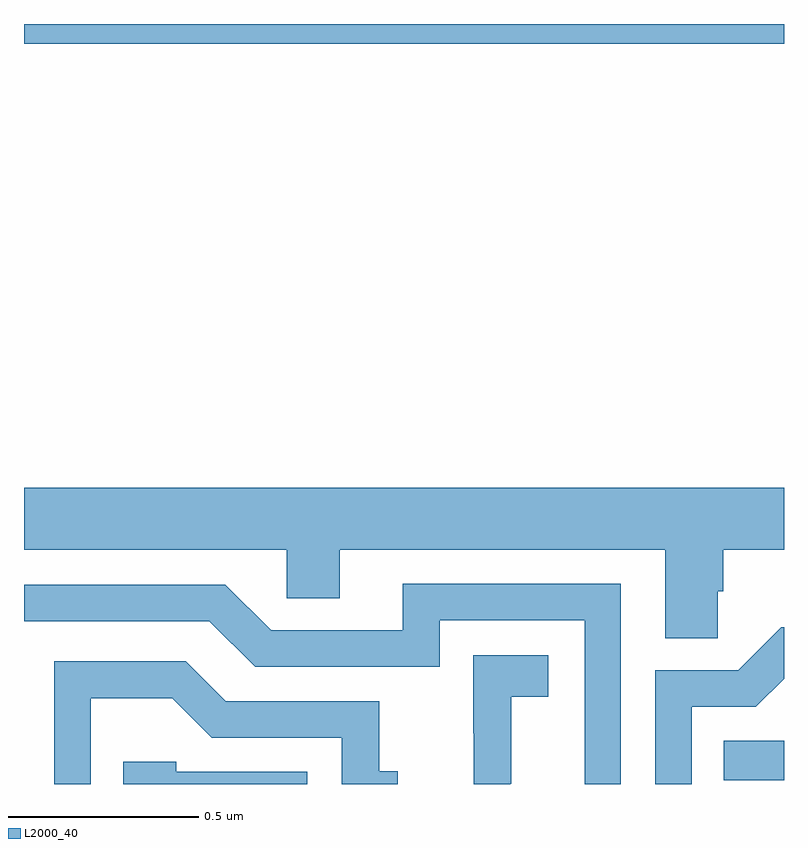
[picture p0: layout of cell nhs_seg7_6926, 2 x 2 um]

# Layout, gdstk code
import gdstk
lib = gdstk.Library(unit=1e-6, precision=1e-09)
def R(c, l, rs):  # rectangles x0, y0, x1, y1
    for r in rs: c.add(gdstk.rectangle(r[:2], r[2:], *l))
def P(c, l, *ps):  # polygons
    for p in ps: c.add(gdstk.Polygon(p, *l))
L2000_40 = (2000, 40)

nhs_seg7_6926 = lib.new_cell('nhs_seg7_6926')
R(nhs_seg7_6926, L2000_40, [(206.842,1000.01,207,1000.114), (205,1001.948,207,1002)])
P(nhs_seg7_6926, L2000_40, [(206.826,1000.507),(206.84,1000.507),(206.84,1000.616),(207,1000.616),(207,1000.78),(205,1000.78),(205,1000.616),(205.692,1000.616),(205.692,1000.489),(205.831,1000.489),(205.831,1000.616),(206.687,1000.616),(206.687,1000.384),(206.826,1000.384)],
  [(206.571,1000.527),(205.997,1000.527),(205.997,1000.404),(205.65,1000.404),(205.53,1000.524),(205,1000.524),(205,1000.428),(205.488,1000.428),(205.608,1000.308),(206.094,1000.308),(206.094,1000.431),(206.475,1000.431),(206.475,1000),(206.571,1000)],
  [(206.757,1000.203),(206.926,1000.203),(207,1000.277),(207,1000.412),(206.993,1000.412),(206.88,1000.299),(206.661,1000.299),(206.661,1000),(206.757,1000)],
  [(206.28,1000.001),(206.282,1000.001),(206.282,1000.229),(206.38,1000.229),(206.38,1000.339),(206.182,1000.339),(206.182,1000.133),(206.183,1000.133),(206.183,1000),(206.28,1000)],
  [(205.176,1000.226),(205.39,1000.226),(205.494,1000.122),(205.836,1000.122),(205.836,1000),(205.984,1000),(205.984,1000.033),(205.935,1000.033),(205.935,1000.218),(205.531,1000.218),(205.426,1000.323),(205.08,1000.323),(205.08,1000),(205.176,1000)],
  [(205.746,1000.032),(205.401,1000.032),(205.401,1000.059),(205.261,1000.059),(205.261,1000),(205.746,1000)])

lib.write_gds('nhs_seg7_6926.gds')
